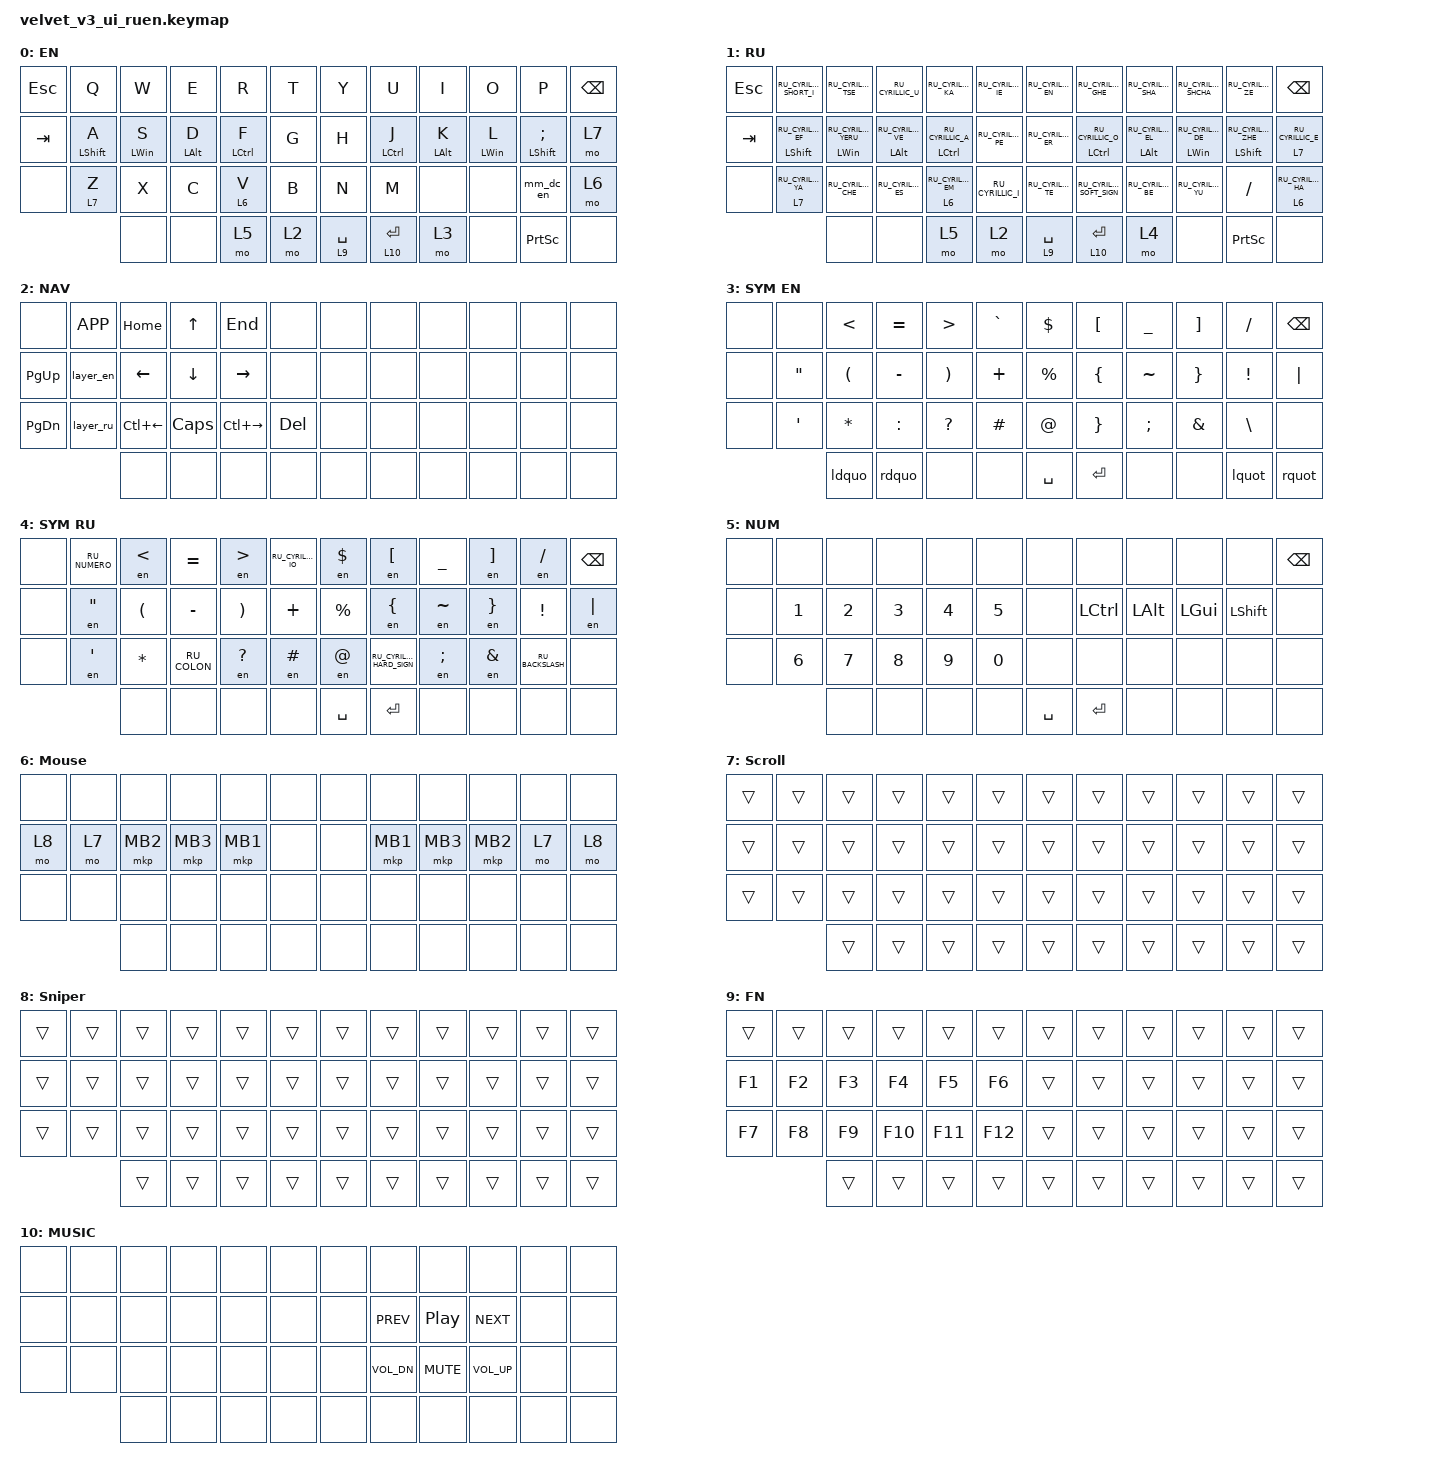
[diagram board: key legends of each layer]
#include "keys_ru.h"
#include <dt-bindings/zmk/input_transform.h>
#include <input/processors.dtsi>
#include <zephyr/dt-bindings/input/input-event-codes.h>
#include <behaviors.dtsi>
#include <dt-bindings/zmk/keys.h>
#include <dt-bindings/zmk/pointing.h>

/ {
    behaviors {
        cap_sen: cap_sen {
            compatible = "zmk,behavior-hold-tap";
            label = "CAP_SEN";
            bindings = <&mo>, <&mkp>;

            #binding-cells = <2>;
            tapping-term-ms = <150>;
            hold-while-undecided;
        };

        mouse_layer: mouse_layer {
            compatible = "zmk,behavior-sticky-key";
            label = "MOUSE_LAYER";
            bindings = <&mo>;
            #binding-cells = <1>;
            release-after-ms = <200>;
        };

        hmr_r: hmr_r {
            compatible = "zmk,behavior-hold-tap";
            label = "HMR_R";
            #binding-cells = <2>;
            bindings = <&kp>, <&kp>;

            tapping-term-ms = <280>;
            flavor = "balanced";
            quick-tap-ms = <175>;
            require-prior-idle-ms = <150>;
            hold-trigger-on-release;
            hold-trigger-key-positions = <0 1 2 3 4 5 12 13 14 15 16 17 24 25 26 27 28 29 36 37 39 40 38>;
        };

        mm_dc_en: mm_dc_en {
            compatible = "zmk,behavior-mod-morph";
            label = "MM_DC_EN";
            bindings = <&kp DOT>, <&kp COMMA>;

            #binding-cells = <0>;
            mods = <(MOD_LSFT)>;
        };

        hmr_l: hmr_l {
            compatible = "zmk,behavior-hold-tap";
            label = "HMR_L";
            #binding-cells = <2>;
            bindings = <&kp>, <&kp>;

            tapping-term-ms = <280>;
            flavor = "balanced";
            quick-tap-ms = <175>;
            require-prior-idle-ms = <150>;
            hold-trigger-on-release;
            hold-trigger-key-positions = <6 7 8 9 10 11 18 19 20 21 22 18 22 23 30 31 32 33 34 35 6 7 8 9 10 11 18 19 20 21 22 23 30 31 32 33 34 35 44 45 41 41 43 42>;
        };

        zip_auto_mouse: zip_auto_mouse {
            compatible = "zmk,input-processor-temp-layer";
            #input-processor-cells = <2>;
            require-prior-idle-ms = <800>;
            excluded-positions = <>;
        };
    };

    combos {
        compatible = "zmk,combos";

        word-del {
            bindings = <&kp LC(BACKSPACE)>;
            key-positions = <10 11>;
        };
    };

    macros {
        to_ru: to_ru {
            compatible = "zmk,behavior-macro";
            #binding-cells = <0>;
            bindings = <&to_lan NUMBER_2>;
            label = "TO_RU";
            wait-ms = <0>;
            tap-ms = <30>;
        };

        to_en: to_en {
            compatible = "zmk,behavior-macro";
            #binding-cells = <0>;
            bindings = <&to_lan NUMBER_1>;
            label = "TO_EN";
            wait-ms = <0>;
            tap-ms = <30>;
        };

        layer_en: layer_en {
            compatible = "zmk,behavior-macro";
            #binding-cells = <0>;
            bindings = <&to 0 &to_en>;
            label = "LAYER_EN";
            wait-ms = <0>;
            tap-ms = <30>;
        };

        layer_ru: layer_ru {
            compatible = "zmk,behavior-macro";
            #binding-cells = <0>;
            bindings = <&to 1 &to_ru>;
            label = "LAYER_RU";
            tap-ms = <30>;
            wait-ms = <0>;
        };

        en: en {
            compatible = "zmk,behavior-macro-one-param";
            #binding-cells = <1>;
            bindings =
                <&to_en>,
                <&macro_press>,
                <&macro_param_1to1 &kp MACRO_PLACEHOLDER>,
                <&macro_pause_for_release>,
                <&macro_release>,
                <&macro_param_1to1 &kp MACRO_PLACEHOLDER>,
                <&macro_tap>,
                <&to_ru>;

            label = "EN";
            wait-ms = <0>;
            tap-ms = <30>;
        };

        ldquo: ldquo {
            compatible = "zmk,behavior-macro";
            #binding-cells = <0>;
            bindings = <&kp RIGHT_WIN &kp DQT &kp GT>;
            label = "LDQUO";
        };

        rdquo: rdquo {
            compatible = "zmk,behavior-macro";
            #binding-cells = <0>;
            bindings = <&kp RIGHT_WIN &kp DQT &kp COMMA>;
            label = "RDQUO";
        };

        lquot: lquot {
            compatible = "zmk,behavior-macro";
            #binding-cells = <0>;
            bindings = <&kp RIGHT_WIN &kp LT &kp LT>;
            label = "LQUOT";
        };

        rquot: rquot {
            compatible = "zmk,behavior-macro";
            #binding-cells = <0>;
            bindings = <&kp RIGHT_WIN &kp GT &kp GT>;
            label = "RQUOT";
        };

        to_lan: to_lan {
            compatible = "zmk,behavior-macro-one-param";
            #binding-cells = <1>;
            bindings =
                <&macro_press>,
                <&kp LEFT_SHIFT &kp LEFT_CONTROL>,
                <&macro_tap>,
                <&macro_param_1to1 &kp MACRO_PLACEHOLDER>,
                <&macro_release>,
                <&kp LEFT_SHIFT &kp LEFT_CONTROL>;

            label = "TO_LAN";
            tap-ms = <30>;
            wait-ms = <10>;
        };
    };

    keymap {
        compatible = "zmk,keymap";

        en {
            bindings = <
&kp ESC  &kp Q                &kp W              &kp E              &kp R                  &kp T                               &kp Y  &kp U                  &kp I              &kp O              &kp P                   &kp BSPC
&kp TAB  &hmr_l LEFT_SHIFT A  &hmr_l LEFT_WIN S  &hmr_l LEFT_ALT D  &hmr_l LEFT_CONTROL F  &kp G                               &kp H  &hmr_r LEFT_CONTROL J  &hmr_r LEFT_ALT K  &hmr_r LEFT_WIN L  &hmr_r LEFT_SHIFT SEMI  &mo 7
&none    &lt 7 Z              &kp X              &kp C              &lt 6 V                &kp B                               &kp N  &kp M                  &none              &none              &mm_dc_en               &mo 6
                              &none              &none              &mo 5                  &mo 2  &lt 9 SPACE    &lt 10 ENTER  &mo 3  &none                  &kp PSCRN          &none
            >;

            display-name = "EN";
        };

        ru {
            display-name = "RU";
            bindings = <
&kp ESC  &kp RU_CYRILLIC_SHORT_I           &kp RU_CYRILLIC_TSE               &kp RU_CYRILLIC_U               &kp RU_CYRILLIC_KA                 &kp RU_CYRILLIC_IE                               &kp RU_CYRILLIC_EN  &kp RU_CYRILLIC_GHE                &kp RU_CYRILLIC_SHA             &kp RU_CYRILLIC_SHCHA           &kp RU_CYRILLIC_ZE                 &kp BSPC
&kp TAB  &hmr_l LEFT_SHIFT RU_CYRILLIC_EF  &hmr_l LEFT_WIN RU_CYRILLIC_YERU  &hmr_l LEFT_ALT RU_CYRILLIC_VE  &hmr_l LEFT_CONTROL RU_CYRILLIC_A  &kp RU_CYRILLIC_PE                               &kp RU_CYRILLIC_ER  &hmr_r LEFT_CONTROL RU_CYRILLIC_O  &hmr_r LEFT_ALT RU_CYRILLIC_EL  &hmr_r LEFT_WIN RU_CYRILLIC_DE  &hmr_r LEFT_SHIFT RU_CYRILLIC_ZHE  &lt 7 RU_CYRILLIC_E
&none    &lt 7 RU_CYRILLIC_YA              &kp RU_CYRILLIC_CHE               &kp RU_CYRILLIC_ES              &lt 6 RU_CYRILLIC_EM               &kp RU_CYRILLIC_I                                &kp RU_CYRILLIC_TE  &kp RU_CYRILLIC_SOFT_SIGN          &kp RU_CYRILLIC_BE              &kp RU_CYRILLIC_YU              &kp FSLH                           &lt 6 RU_CYRILLIC_HA
                                           &none                             &none                           &mo 5                              &mo 2               &lt 9 SPACE    &lt 10 ENTER  &mo 4               &none                              &kp PSCRN                       &none
            >;
        };

        nav {
            bindings = <
&none      &kp K_APP  &kp HOME            &kp UP          &kp END              &none                    &none  &none  &none  &none  &none  &none
&kp PG_UP  &layer_en  &kp LEFT_ARROW      &kp DOWN_ARROW  &kp RIGHT_ARROW      &none                    &none  &none  &none  &none  &none  &none
&kp PG_DN  &layer_ru  &kp LC(LEFT_ARROW)  &kp CAPS        &kp LC(RIGHT_ARROW)  &kp DEL                  &none  &none  &none  &none  &none  &none
                      &none               &none           &none                &none    &none    &none  &none  &none  &none  &none
            >;

            display-name = "NAV";
        };

        sym_en {
            bindings = <
&none  &none    &kp LT    &kp EQUAL  &kp GT     &kp GRAVE                          &kp DOLLAR  &kp LBKT         &kp UNDER  &kp RBKT  &kp FSLH       &kp BACKSPACE
&none  &kp DQT  &kp LPAR  &kp MINUS  &kp RPAR   &kp PLUS                           &kp PRCNT   &kp LBRC         &kp TILDE  &kp RBRC  &kp EXCL       &kp PIPE
&none  &kp SQT  &kp STAR  &kp COLON  &kp QMARK  &kp HASH                           &kp AT      &kp RIGHT_BRACE  &kp SEMI   &kp AMPS  &kp BACKSLASH  &none
                &ldquo    &rdquo     &none      &none      &kp SPACE    &kp ENTER  &none       &none            &lquot     &rquot
            >;

            display-name = "SYM EN";
        };

        sym_ru {
            display-name = "SYM RU";
            bindings = <
&none  &kp RU_NUMERO  &en LT    &kp EQUAL     &en GT     &kp RU_CYRILLIC_IO                          &en DOLLAR  &en LEFT_BRACKET           &kp UNDER  &en RIGHT_BRACKET  &en FSLH          &kp BACKSPACE
&none  &en DQT        &kp LPAR  &kp MINUS     &kp RPAR   &kp PLUS                                    &kp PRCNT   &en LBRC                   &en TILDE  &en RBRC           &kp EXCL          &en PIPE
&none  &en SQT        &kp STAR  &kp RU_COLON  &en QMARK  &en HASH                                    &en AT      &kp RU_CYRILLIC_HARD_SIGN  &en SEMI   &en AMPS           &kp RU_BACKSLASH  &none
                      &none     &none         &none      &none               &kp SPACE    &kp ENTER  &none       &none                      &none      &none
            >;
        };

        num {
            bindings = <
&none  &none   &none   &none   &none   &none                           &none  &none      &none     &none     &none      &kp BSPC
&none  &kp N1  &kp N2  &kp N3  &kp N4  &kp N5                          &none  &kp LCTRL  &kp LALT  &kp LGUI  &kp LSHFT  &none
&none  &kp N6  &kp N7  &kp N8  &kp N9  &kp N0                          &none  &none      &none     &none     &none      &none
               &none   &none   &none   &none   &kp SPACE    &kp ENTER  &none  &none      &none     &none
            >;

            label = "NUM";
        };

        mouse {
            bindings = <
&none  &none  &none     &none     &none     &none                  &none  &none     &none     &none     &none  &none
&mo 8  &mo 7  &mkp MB2  &mkp MB3  &mkp MB1  &none                  &none  &mkp MB1  &mkp MB3  &mkp MB2  &mo 7  &mo 8
&none  &none  &none     &none     &none     &none                  &none  &none     &none     &none     &none  &none
              &none     &none     &none     &none  &none    &none  &none  &none     &none     &none
            >;

            display-name = "Mouse";
        };

        scroll {
            bindings = <
&trans  &trans  &trans  &trans  &trans  &trans                    &trans  &trans  &trans  &trans  &trans  &trans
&trans  &trans  &trans  &trans  &trans  &trans                    &trans  &trans  &trans  &trans  &trans  &trans
&trans  &trans  &trans  &trans  &trans  &trans                    &trans  &trans  &trans  &trans  &trans  &trans
                &trans  &trans  &trans  &trans  &trans    &trans  &trans  &trans  &trans  &trans
            >;

            display-name = "Scroll";
        };

        sniper {
            bindings = <
&trans  &trans  &trans  &trans  &trans  &trans                    &trans  &trans  &trans  &trans  &trans  &trans
&trans  &trans  &trans  &trans  &trans  &trans                    &trans  &trans  &trans  &trans  &trans  &trans
&trans  &trans  &trans  &trans  &trans  &trans                    &trans  &trans  &trans  &trans  &trans  &trans
                &trans  &trans  &trans  &trans  &trans    &trans  &trans  &trans  &trans  &trans
            >;

            display-name = "Sniper";
        };

        fn {
            bindings = <
&trans  &trans  &trans  &trans   &trans   &trans                     &trans  &trans  &trans  &trans  &trans  &trans
&kp F1  &kp F2  &kp F3  &kp F4   &kp F5   &kp F6                     &trans  &trans  &trans  &trans  &trans  &trans
&kp F7  &kp F8  &kp F9  &kp F10  &kp F11  &kp F12                    &trans  &trans  &trans  &trans  &trans  &trans
                &trans  &trans   &trans   &trans   &trans    &trans  &trans  &trans  &trans  &trans
            >;

            label = "FN";
        };

        music {
            bindings = <
&none  &none  &none  &none  &none  &none                  &none  &none         &none       &none         &none  &none
&none  &none  &none  &none  &none  &none                  &none  &kp C_PREV    &kp C_PP    &kp C_NEXT    &none  &none
&none  &none  &none  &none  &none  &none                  &none  &kp C_VOL_DN  &kp K_MUTE  &kp C_VOL_UP  &none  &none
              &none  &none  &none  &none  &none    &none  &none  &none         &none       &none
            >;

            label = "MUSIC";
        };
    };
};

&trackball { cpi = <1000>; };

&trackball_listener {
    input-processors = <&zip_xy_scaler 9 20>;

    scroller {
        layers = <7>;
        input-processors =
            <&zip_xy_transform INPUT_TRANSFORM_Y_INVERT>,
            <&zip_xy_scaler 1 32>,
            <&zip_xy_to_scroll_mapper>;
    };

    sniper {
        layers = <8>;
        input-processors = <&zip_xy_scaler 1 4>;
    };
};
